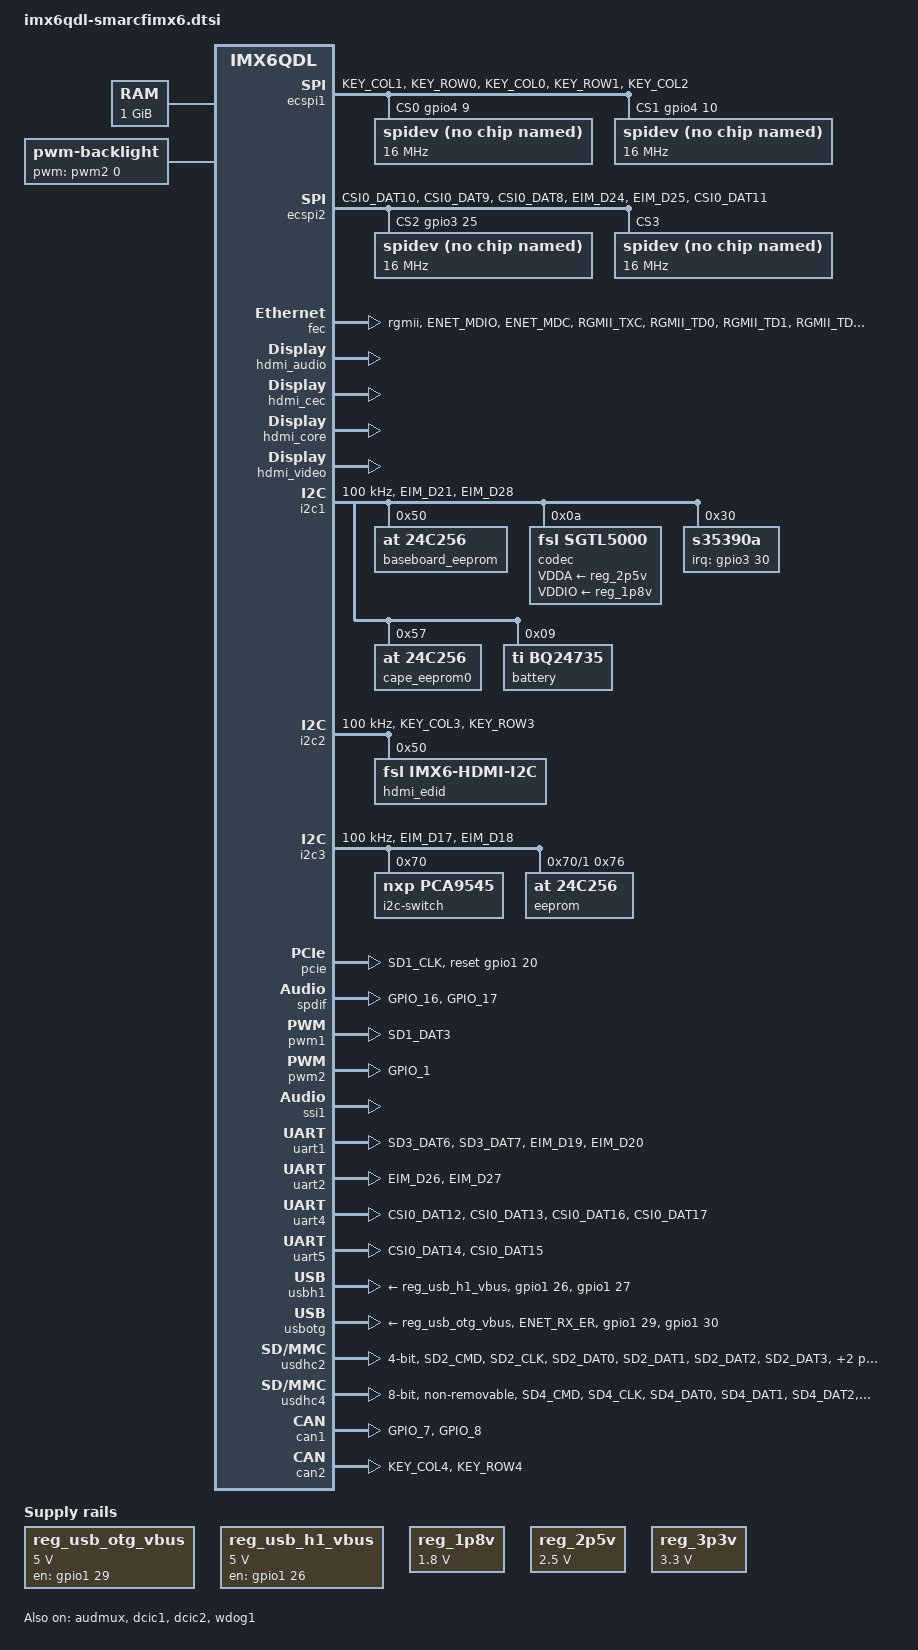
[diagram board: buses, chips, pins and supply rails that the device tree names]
/*
 * Copyright 2012-2016 Freescale Semiconductor, Inc.
 * Copyright 2011 Linaro Ltd.
 *
 * The code contained herein is licensed under the GNU General Public
 * License. You may obtain a copy of the GNU General Public License
 * Version 2 or later at the following locations:
 *
 * http://www.opensource.org/licenses/gpl-license.html
 * http://www.gnu.org/copyleft/gpl.html
 */

#include <dt-bindings/gpio/gpio.h>
#include <dt-bindings/input/input.h>

/ {
	aliases {
		mxcfb0 = &mxcfb1;
		mxcfb1 = &mxcfb2;
		mxcfb2 = &mxcfb3;
		mxcfb3 = &mxcfb4;
	};

	memory: memory {
		reg = <0x10000000 0x40000000>;
	};

	regulators {
		compatible = "simple-bus";
		#address-cells = <1>;
		#size-cells = <0>;

		reg_usb_otg_vbus: regulator@0 {
			compatible = "regulator-fixed";
			reg = <0>;
			regulator-name = "usb_otg_vbus";
			regulator-min-microvolt = <5000000>;
			regulator-max-microvolt = <5000000>;
			gpio = <&gpio1 29 0>;
			enable-active-high;
		};

		reg_usb_h1_vbus: regulator@1 {
			compatible = "regulator-fixed";
			reg = <1>;
			regulator-name = "usb_h1_vbus";
			regulator-min-microvolt = <5000000>;
			regulator-max-microvolt = <5000000>;
			gpio = <&gpio1 26 0>;
			enable-active-high;
		};

                snvs_reg: vsnvs {
                        regulator-min-microvolt = <1000000>;
                        regulator-max-microvolt = <3000000>;
                        regulator-boot-on;
                        regulator-always-on;
                        };

                reg_1p8v: 1p8v {
                        compatible = "regulator-fixed";
                        regulator-name = "1P8V";
                        regulator-min-microvolt = <1800000>;
                        regulator-max-microvolt = <1800000>;
                        regulator-always-on;
                };

                reg_2p5v: 2p5v {
                        compatible = "regulator-fixed";
                        regulator-name = "2P5V";
                        regulator-min-microvolt = <2500000>;
                        regulator-max-microvolt = <2500000>;
                        regulator-always-on;
                };

                reg_3p3v: 3p3v {
                        compatible = "regulator-fixed";
                        regulator-name = "3P3V";
                        regulator-min-microvolt = <3300000>;
                        regulator-max-microvolt = <3300000>;
                        regulator-always-on;
                };
	};

        sound-sgtl5000 {
                compatible = "fsl,imx6q-ventana-sgtl5000",
                             "fsl,imx-audio-sgtl5000";
                model = "sgtl5000-audio";
                ssi-controller = <&ssi1>;
                audio-codec = <&codec>;
                audio-routing =
                        "MIC_IN", "Mic Jack",
                        "Mic Jack", "Mic Bias",
                        "Headphone Jack", "HP_OUT";
                mux-int-port = <1>;
                mux-ext-port = <3>;
        };

        sound-spdif {
                compatible = "fsl,imx-audio-spdif";
                model = "imx-spdif";
                spdif-controller = <&spdif>;
                spdif-in;
                spdif-out;
        };

	sound-hdmi {
		compatible = "fsl,imx6q-audio-hdmi",
			     "fsl,imx-audio-hdmi";
		model = "imx-audio-hdmi";
		hdmi-controller = <&hdmi_audio>;
	};

	mxcfb1: fb@0 {
		compatible = "fsl,mxc_sdc_fb";
		disp_dev = "ldb";
		interface_pix_fmt = "RGB24";
		default_bpp = <24>;
		int_clk = <0>;
		late_init = <0>;
		status = "disabled";
	};

	mxcfb2: fb@1 {
		compatible = "fsl,mxc_sdc_fb";
		disp_dev = "hdmi";
		interface_pix_fmt = "RGB24";
		mode_str ="1920x1080M@60";
		default_bpp = <24>;
		int_clk = <0>;
		late_init = <0>;
		status = "disabled";
	};

	mxcfb3: fb@2 {
		compatible = "fsl,mxc_sdc_fb";
		disp_dev = "lcd";
		interface_pix_fmt = "RGB24";
		mode_str ="CLAA-WVGA";
		default_bpp = <16>;
		int_clk = <0>;
		late_init = <0>;
		status = "disabled";
	};

	mxcfb4: fb@3 {
		compatible = "fsl,mxc_sdc_fb";
		disp_dev = "ldb";
		interface_pix_fmt = "RGB24";
		default_bpp = <24>;
		int_clk = <0>;
		late_init = <0>;
		status = "disabled";
	};

	lcd@0 {
		compatible = "fsl,lcd";
		ipu_id = <0>;
		disp_id = <0>;
		default_ifmt = "RGB24";
		pinctrl-names = "default";
		pinctrl-0 = <&pinctrl_ipu1>;
		status = "okay";
	};

	backlight {
		compatible = "pwm-backlight";
		pwms = <&pwm2 0 50000>;
		brightness-levels = <
			0  /*1  2  3  4  5  6*/  7  8  9
			10 11 12 13 14 15 16 17 18 19
			20 21 22 23 24 25 26 27 28 29
			30 31 32 33 34 35 36 37 38 39
			40 41 42 43 44 45 46 47 48 49
			50 51 52 53 54 55 56 57 58 59
			60 61 62 63 64 65 66 67 68 69
			70 71 72 73 74 75 76 77 78 79
			80 81 82 83 84 85 86 87 88 89
			90 91 92 93 94 95 96 97 98 99
			100
			>;
		default-brightness-level = <94>;
		status = "okay";
	};

	v4l2_cap_0 {
		compatible = "fsl,imx6q-v4l2-capture";
		ipu_id = <0>;
		csi_id = <0>;
		mclk_source = <0>;
		status = "disabled";
	};

	v4l2_cap_1 {
		compatible = "fsl,imx6q-v4l2-capture";
		ipu_id = <0>;
		csi_id = <1>;
		mclk_source = <0>;
		status = "disabled";
	};

	v4l2_out {
		compatible = "fsl,mxc_v4l2_output";
		status = "disabled";
	};
};

&audmux {
	status = "okay";
};

&clks {
        assigned-clocks = <&clks IMX6QDL_CLK_LDB_DI0_SEL>,
                          <&clks IMX6QDL_CLK_LDB_DI1_SEL>;
        assigned-clock-parents = <&clks IMX6QDL_CLK_PLL2_PFD0_352M>,
                                 <&clks IMX6QDL_CLK_PLL2_PFD0_352M>;
        fsl,ldb-di0-parent = <&clks IMX6QDL_CLK_PLL2_PFD0_352M>;
        fsl,ldb-di1-parent = <&clks IMX6QDL_CLK_PLL2_PFD0_352M>;
};

&clks {
};

&ecspi1 {
        fsl,spi-num-chipselects = <2>;
        cs-gpios = <&gpio4 9 GPIO_ACTIVE_HIGH>, <&gpio4 10 GPIO_ACTIVE_HIGH>;
        pinctrl-names = "default";
        pinctrl-0 = <&pinctrl_ecspi1 &pinctrl_ecspi1_cs>;
        status = "okay";

        spidev@0x00 {
                compatible = "spidev";
                spi-max-frequency = <16000000>;
                reg = <0>;
        };
        spidev@0x01 {
                compatible = "spidev";
                spi-max-frequency = <16000000>;
                reg = <1>;
        };
};

&ecspi2 {
        fsl,spi-num-chipselects = <4>;
        cs-gpios = <&gpio5 29 GPIO_ACTIVE_HIGH>,<&gpio3 24 GPIO_ACTIVE_HIGH>,<&gpio3 25 GPIO_ACTIVE_HIGH>,<0>;
        pinctrl-names = "default";
        pinctrl-0 = <&pinctrl_ecspi2 &pinctrl_ecspi2_cs>;
        status = "okay";

        /*SPI NOR Flash is lock up by U-Boot. Turn on GPIO4_20 if user need to access from kernel.*/
        /*flash: mx25u3235f0@0 {
                #address-cells = <1>;
                #size-cells = <1>;
                compatible = "macronix,mx25u3235f";
                spi-max-frequency = <16000000>;
                reg = <0>;
                        partition@0 {
                                label = "U-Boot";
                                reg = <0x0 0x100000>;
                        };

                        partition@100000 {
                                label = "U-Boot Environment";
                                reg = <0x100000 0x080000>;
                        };

                        partition@180000 {
                                label = "Flattened Device Tree";
                                reg = <0x180000 0x200000>;
                        };

        };*/

        spidev@0x02 {
                #address-cells = <1>;
                #size-cells = <0>;
                compatible = "spidev";
                reg = <2>;
                spi-max-frequency = <16000000>;
                };

        spidev@0x03 {
                #address-cells = <1>;
                #size-cells = <0>;
                compatible = "spidev";
                reg = <3>;
                spi-max-frequency = <16000000>;
                };
};

&fec {
	pinctrl-names = "default";
	pinctrl-0 = <&pinctrl_enet>;
	phy-mode = "rgmii";
        interrupts = <&pinctrl_enet_irq>;
	fsl,magic-packet;
	status = "okay";
};

&gpc {
	fsl,ldo-bypass = <0>;
};

&dcic1 {
	dcic_id = <0>;
	dcic_mux = "dcic-hdmi";
	status = "okay";
};

&dcic2 {
	dcic_id = <1>;
	dcic_mux = "dcic-lvds1";
	status = "okay";
};

&hdmi_audio {
	status = "okay";
};

&hdmi_cec {
	pinctrl-names = "default";
	/*pinctrl-0 = <&pinctrl_hdmi_cec>;*/
	status = "okay";
};

&hdmi_core {
	ipu_id = <0>;
	disp_id = <1>;
	status = "okay";
};

&hdmi_video {
	fsl,phy_reg_vlev = <0x0294>;
	fsl,phy_reg_cksymtx = <0x800d>;
	status = "okay";
};

&i2c1 {
        clock-frequency = <100000>;
        pinctrl-names = "default";
        pinctrl-0 = <&pinctrl_i2c1>;
        status = "okay";

        baseboard_eeprom: baseboard_eeprom@50 {
                compatible = "at,24c256";
                reg = <0x50>;
        };

        codec: sgtl5000@0a {
                compatible = "fsl,sgtl5000";
                reg = <0x0a>;
                clocks = <&clks 201>;
                pinctrl-names = "default";
                pinctrl-0 = <&pinctrl_sgtl5000>;
                VDDA-supply = <&reg_2p5v>;
                VDDIO-supply = <&reg_1p8v>;
        };

        s35390a: s35390a@30 {
                compatible = "s35390a";
                reg = <0x30>;
                interrupt-parent = <&gpio3>;
                interrupts = <30 0>, <31 0>;
        };

        cape_eeprom0: cape_eeprom@57 {
                compatible = "at,24c256";
                reg = <0x57>;
        };

        battery: bq24735@09 {
                compatible = "ti,bq24735";
                reg = <0x09>;
                ti,charge-current = <128>;
                ti,input-current = <256>;
                ti,charge-voltage = <5000>;
         };
};

&i2c2 {
        clock-frequency = <100000>;
        pinctrl-names = "default";
        pinctrl-0 = <&pinctrl_i2c2>;
        status = "okay";

        hdmi_edid: edid@50 {
                compatible = "fsl,imx6-hdmi-i2c";
                reg = <0x50>;
        };
};

&i2c3 {
        clock-frequency = <100000>;
        pinctrl-names = "default";
        pinctrl-0 = <&pinctrl_i2c3>;
        status = "okay";

        i2c-switch@70 {
                compatible = "nxp,pca9545";
                #address-cells = <1>;
                #size-cells = <0>;
                reg = <0x70>;

                        i2c@0 {
                                #address-cells = <1>;
                                #size-cells = <0>;
                                compatible = "nxp,pca954x-bus";
                                reg = <0>;

                                /*eeprom@54 {
                                        compatible = "at,24c08";
                                        reg = <0x54>;
                                        };*/
                                };

                        i2c@1 {
                                #address-cells = <1>;
                                #size-cells = <0>;
                                compatible = "nxp,pca954x-bus";
                                reg = <1>;

                                /* Example to add new i2c device */
                                        /*rtc@51 {
                                        compatible = "nxp,pcf8563";
                                        reg = <0x51>;
                                        };*/
                                eeprom@76 {
                                        compatible = "at,24c256";
                                        reg = <0x76>;
                                        };
                                };

                        i2c@2 {
                                #address-cells = <1>;
                                #size-cells = <0>;
                                compatible = "nxp,pca954x-bus";
                                reg = <2>;
                                };
                        i2c@3 {
                                #address-cells = <1>;
                                #size-cells = <0>;
                                compatible = "nxp,pca954x-bus";
                                reg = <3>;
                                };
                };
};

&iomuxc {
	pinctrl-names = "default";
	pinctrl-0 = <&pinctrl_hog>;

	imx6qdl-sabresd {
		pinctrl_hog: hoggrp {
			fsl,pins = <
                                MX6QDL_PAD_GPIO_4__GPIO1_IO04   0x80000000
                                MX6QDL_PAD_GPIO_5__GPIO1_IO05   0x80000000
                                MX6QDL_PAD_GPIO_6__GPIO1_IO06   0x80000000
                                MX6QDL_PAD_NANDF_D0__GPIO2_IO00 0x80000000
                                MX6QDL_PAD_NANDF_D2__GPIO2_IO02 0x80000000
                                MX6QDL_PAD_NANDF_D3__GPIO2_IO03 0x80000000
                                MX6QDL_PAD_NANDF_D4__GPIO2_IO04 0x80000000
                                MX6QDL_PAD_NANDF_D5__GPIO2_IO05 0x80000000
                                MX6QDL_PAD_NANDF_D6__GPIO2_IO06 0x80000000
                                MX6QDL_PAD_NANDF_D7__GPIO2_IO07 0x80000000
                                MX6QDL_PAD_NANDF_ALE__GPIO6_IO08 0x80000000
                                MX6QDL_PAD_NANDF_CLE__GPIO6_IO07 0x80000000
                                MX6QDL_PAD_GPIO_0__GPIO1_IO00   0x80000000
                                MX6QDL_PAD_NANDF_CS2__CCM_CLKO2 0x130b0
                                MX6QDL_PAD_NANDF_CS3__GPIO6_IO16 0x80000000
                                MX6QDL_PAD_EIM_CS0__GPIO2_IO23  0x80000000
                                MX6QDL_PAD_EIM_CS1__GPIO2_IO24  0x80000000
                                MX6QDL_PAD_EIM_EB3__GPIO2_IO31  0x80000000
                                MX6QDL_PAD_EIM_D16__GPIO3_IO16  0x80000000
                                MX6QDL_PAD_EIM_DA9__GPIO3_IO09  0x80000000
                                MX6QDL_PAD_EIM_D29__GPIO3_IO29  0x80000000
                                MX6QDL_PAD_GPIO_2__GPIO1_IO02   0x80000000
                                MX6QDL_PAD_SD1_CMD__GPIO1_IO18  0x80000000
                                /*MX6QDL_PAD_EIM_D30__GPIO3_IO30          0x410
                                MX6QDL_PAD_EIM_D31__GPIO3_IO31          0x410*/
                                MX6QDL_PAD_DI0_PIN4__GPIO4_IO20 0x80000000
                                MX6QDL_PAD_CSI0_MCLK__CCM_CLKO1 0x130b0
			>;
		};

		/*pinctrl_audmux: audmuxgrp {
			fsl,pins = <
				MX6QDL_PAD_CSI0_DAT7__AUD3_RXD		0x130b0
				MX6QDL_PAD_CSI0_DAT4__AUD3_TXC		0x130b0
				MX6QDL_PAD_CSI0_DAT5__AUD3_TXD		0x110b0
				MX6QDL_PAD_CSI0_DAT6__AUD3_TXFS		0x130b0
			>;
		};*/

                pinctrl_ecspi1: ecspi1grp {
                        fsl,pins = <
                                MX6QDL_PAD_KEY_COL1__ECSPI1_MISO        0x100b1
                                MX6QDL_PAD_KEY_ROW0__ECSPI1_MOSI        0x100b1
                                MX6QDL_PAD_KEY_COL0__ECSPI1_SCLK        0x100b1
                        >;
                };

                pinctrl_ecspi1_cs: ecspi1cs {
                        fsl,pins = <
                                MX6QDL_PAD_KEY_ROW1__GPIO4_IO09        	0x1b0b0
                                MX6QDL_PAD_KEY_COL2__GPIO4_IO10        	0x1b0b0
                        >;
                };

                pinctrl_ecspi2: ecspi2grp {
                        fsl,pins = <
                                MX6QDL_PAD_CSI0_DAT10__ECSPI2_MISO      0x100b1
                                MX6QDL_PAD_CSI0_DAT9__ECSPI2_MOSI       0x100b1
                                MX6QDL_PAD_CSI0_DAT8__ECSPI2_SCLK       0x100b1
                        >;
                };

                pinctrl_ecspi2_cs: ecspi2cs {
                        fsl,pins = <
                                MX6QDL_PAD_EIM_D24__GPIO3_IO24         	0x1b0b0
                                MX6QDL_PAD_EIM_D25__GPIO3_IO25         	0x1b0b0
                                MX6QDL_PAD_CSI0_DAT11__GPIO5_IO29       0x1b0b0
                        >;
                };

                pinctrl_enet: enetgrp {
                        fsl,pins = <
                                MX6QDL_PAD_ENET_MDIO__ENET_MDIO         0x1b0b0
                                MX6QDL_PAD_ENET_MDC__ENET_MDC           0x1b0b0
                                MX6QDL_PAD_RGMII_TXC__RGMII_TXC         0x1b0b0
                                MX6QDL_PAD_RGMII_TD0__RGMII_TD0         0x1b0b0
                                MX6QDL_PAD_RGMII_TD1__RGMII_TD1         0x1b0b0
                                MX6QDL_PAD_RGMII_TD2__RGMII_TD2         0x1b0b0
                                MX6QDL_PAD_RGMII_TD3__RGMII_TD3         0x1b0b0
                                MX6QDL_PAD_RGMII_TX_CTL__RGMII_TX_CTL   0x1b0b0
                                MX6QDL_PAD_ENET_REF_CLK__ENET_TX_CLK    0x1b0b0
                                MX6QDL_PAD_RGMII_RXC__RGMII_RXC         0x1b0b0
                                MX6QDL_PAD_RGMII_RD0__RGMII_RD0         0x1b0b0
                                MX6QDL_PAD_RGMII_RD1__RGMII_RD1         0x1b0b0
                                MX6QDL_PAD_RGMII_RD2__RGMII_RD2         0x1b0b0
                                MX6QDL_PAD_RGMII_RD3__RGMII_RD3         0x1b0b0
                                MX6QDL_PAD_RGMII_RX_CTL__RGMII_RX_CTL   0x1b0b0
                        >;
                };

                pinctrl_enet_irq: enetirqgrp {
                        fsl,pins = <
                                MX6QDL_PAD_KEY_ROW2__GPIO4_IO11         0x80000000
                        >;
                };

                pinctrl_flexcan1: flexcan1grp {
                        fsl,pins = <
                                MX6QDL_PAD_GPIO_7__FLEXCAN1_TX          0x80000000
                                MX6QDL_PAD_GPIO_8__FLEXCAN1_RX          0x80000000
                        >;
                };

                pinctrl_flexcan2: flexcan2grp {
                        fsl,pins = <
                                MX6QDL_PAD_KEY_COL4__FLEXCAN2_TX        0x80000000
                                MX6QDL_PAD_KEY_ROW4__FLEXCAN2_RX        0x80000000
                        >;
                };

                pinctrl_hdmi_cec: hdmicecgrp {
                        fsl,pins = <
                                MX6QDL_PAD_KEY_ROW2__HDMI_TX_CEC_LINE   0x1f8b0
                        >;
                };

                pinctrl_hdmi_hdcp: hdmihdcpgrp {
                        fsl,pins = <
                                MX6QDL_PAD_KEY_COL3__HDMI_TX_DDC_SCL    0x4001b8b1
                                MX6QDL_PAD_KEY_ROW3__HDMI_TX_DDC_SDA    0x4001b8b1
                        >;
                };

                pinctrl_i2c1: i2c1grp {
                        fsl,pins = <
                                MX6QDL_PAD_EIM_D21__I2C1_SCL            0x4001b8b1
                                MX6QDL_PAD_EIM_D28__I2C1_SDA            0x4001b8b1
                        >;
                };

                pinctrl_i2c2: i2c2grp {
                        fsl,pins = <
                                MX6QDL_PAD_KEY_COL3__I2C2_SCL           0x4001b8b1
                                MX6QDL_PAD_KEY_ROW3__I2C2_SDA           0x4001b8b1
                        >;
                };

                pinctrl_i2c3: i2c3grp {
                        fsl,pins = <
                                MX6QDL_PAD_EIM_D17__I2C3_SCL            0x4001b8b1
                                MX6QDL_PAD_EIM_D18__I2C3_SDA            0x4001b8b1
                        >;
                };

                pinctrl_ipu1: ipu1grp {
                        fsl,pins = <
                                MX6QDL_PAD_DI0_DISP_CLK__IPU1_DI0_DISP_CLK 0xe1
                                MX6QDL_PAD_DI0_PIN15__IPU1_DI0_PIN15       0xe1
                                MX6QDL_PAD_DI0_PIN2__IPU1_DI0_PIN02        0xe1
                                MX6QDL_PAD_DI0_PIN3__IPU1_DI0_PIN03        0xe1
                                MX6QDL_PAD_DISP0_DAT0__IPU1_DISP0_DATA00   0xe1
                                MX6QDL_PAD_DISP0_DAT1__IPU1_DISP0_DATA01   0xe1
                                MX6QDL_PAD_DISP0_DAT2__IPU1_DISP0_DATA02   0xe1
                                MX6QDL_PAD_DISP0_DAT3__IPU1_DISP0_DATA03   0xe1
                                MX6QDL_PAD_DISP0_DAT4__IPU1_DISP0_DATA04   0xe1
                                MX6QDL_PAD_DISP0_DAT5__IPU1_DISP0_DATA05   0xe1
                                MX6QDL_PAD_DISP0_DAT6__IPU1_DISP0_DATA06   0xe1
                                MX6QDL_PAD_DISP0_DAT7__IPU1_DISP0_DATA07   0xe1
                                MX6QDL_PAD_DISP0_DAT8__IPU1_DISP0_DATA08   0xe1
                                MX6QDL_PAD_DISP0_DAT9__IPU1_DISP0_DATA09   0xe1
                                MX6QDL_PAD_DISP0_DAT10__IPU1_DISP0_DATA10  0xe1
                                MX6QDL_PAD_DISP0_DAT11__IPU1_DISP0_DATA11  0xe1
                                MX6QDL_PAD_DISP0_DAT12__IPU1_DISP0_DATA12  0xe1
                                MX6QDL_PAD_DISP0_DAT13__IPU1_DISP0_DATA13  0xe1
                                MX6QDL_PAD_DISP0_DAT14__IPU1_DISP0_DATA14  0xe1
                                MX6QDL_PAD_DISP0_DAT15__IPU1_DISP0_DATA15  0xe1
                                MX6QDL_PAD_DISP0_DAT16__IPU1_DISP0_DATA16  0xe1
                                MX6QDL_PAD_DISP0_DAT17__IPU1_DISP0_DATA17  0xe1
                                MX6QDL_PAD_DISP0_DAT18__IPU1_DISP0_DATA18  0xe1
                                MX6QDL_PAD_DISP0_DAT19__IPU1_DISP0_DATA19  0xe1
                                MX6QDL_PAD_DISP0_DAT20__IPU1_DISP0_DATA20  0xe1
                                MX6QDL_PAD_DISP0_DAT21__IPU1_DISP0_DATA21  0xe1
                                MX6QDL_PAD_DISP0_DAT22__IPU1_DISP0_DATA22  0xe1
                                MX6QDL_PAD_DISP0_DAT23__IPU1_DISP0_DATA23  0xe1
                        >;
                };

                pinctrl_ipu1_2: ipu1grp-2 { /* parallel camera */
                        fsl,pins = <
                                MX6QDL_PAD_CSI0_DAT12__IPU1_CSI0_DATA12	0x80000000
                                MX6QDL_PAD_CSI0_DAT13__IPU1_CSI0_DATA13	0x80000000
                                MX6QDL_PAD_CSI0_DAT14__IPU1_CSI0_DATA14	0x80000000
                                MX6QDL_PAD_CSI0_DAT15__IPU1_CSI0_DATA15	0x80000000
                                MX6QDL_PAD_CSI0_DAT16__IPU1_CSI0_DATA16	0x80000000
                                MX6QDL_PAD_CSI0_DAT17__IPU1_CSI0_DATA17	0x80000000
                                MX6QDL_PAD_CSI0_DAT18__IPU1_CSI0_DATA18	0x80000000
                                MX6QDL_PAD_CSI0_DAT19__IPU1_CSI0_DATA19	0x80000000
                                MX6QDL_PAD_CSI0_DATA_EN__IPU1_CSI0_DATA_EN 0x80000000
                                MX6QDL_PAD_CSI0_PIXCLK__IPU1_CSI0_PIXCLK 0x80000000
                                MX6QDL_PAD_CSI0_MCLK__IPU1_CSI0_HSYNC  	0x80000000
                                MX6QDL_PAD_CSI0_VSYNC__IPU1_CSI0_VSYNC 	0x80000000
                        >;
                };

                pinctrl_pcie: pciegrp {
                        fsl,pins = <
                                MX6QDL_PAD_SD1_CLK__GPIO1_IO20          0x1b0b0
                        >;
                };

                pinctrl_pcie_reg: pciereggrp {
                        fsl,pins = <
                                MX6QDL_PAD_EIM_D19__GPIO3_IO19          0x1b0b0
                        >;
                };

                pinctrl_sgtl5000: sgtl5000grp {
                        fsl,pins = <
                                MX6QDL_PAD_CSI0_DAT7__AUD3_RXD        0x130b0
                                MX6QDL_PAD_CSI0_DAT4__AUD3_TXC        0x130b0
                                MX6QDL_PAD_CSI0_DAT5__AUD3_TXD        0x110b0
                                MX6QDL_PAD_CSI0_DAT6__AUD3_TXFS       0x130b0
                        >;
                };

                pinctrl_pwm1: pwm1grp {
                        fsl,pins = <
                                MX6QDL_PAD_SD1_DAT3__PWM1_OUT           0x1b0b1
                        >;
                };

                pinctrl_pwm2: pwm2grp {
                        fsl,pins = <
                                MX6QDL_PAD_GPIO_1__PWM2_OUT             0x1b0b1
                        >;
                };

                pinctrl_spdif: spdifgrp {
                        fsl,pins = <
                                MX6QDL_PAD_GPIO_16__SPDIF_IN            0x1b0b0
                                MX6QDL_PAD_GPIO_17__SPDIF_OUT           0x1b0b0
                        >;
                };

                pinctrl_uart1: uart1grp {
                        fsl,pins = <
                                MX6QDL_PAD_SD3_DAT6__UART1_RX_DATA      0x1b0b1
                                MX6QDL_PAD_SD3_DAT7__UART1_TX_DATA      0x1b0b1
                                MX6QDL_PAD_EIM_D19__UART1_CTS_B         0x1b0b1
                                MX6QDL_PAD_EIM_D20__UART1_RTS_B         0x1b0b1
                        >;
                };

                pinctrl_uart2: uart2grp {
                        fsl,pins = <
                                MX6QDL_PAD_EIM_D26__UART2_TX_DATA       0x1b0b1
                                MX6QDL_PAD_EIM_D27__UART2_RX_DATA       0x1b0b1
                        >;
                };

                pinctrl_uart4: uart4grp {
                        fsl,pins = <
                                MX6QDL_PAD_CSI0_DAT12__UART4_TX_DATA    0x1b0b1
                                MX6QDL_PAD_CSI0_DAT13__UART4_RX_DATA    0x1b0b1
                                MX6QDL_PAD_CSI0_DAT16__UART4_RTS_B      0x1b0b1
                                MX6QDL_PAD_CSI0_DAT17__UART4_CTS_B      0x1b0b1
                        >;
                };

                pinctrl_uart5_1: uart5grp-1 {
                        fsl,pins = <
                                MX6QDL_PAD_KEY_COL1__UART5_TX_DATA      0x1b0b1
                                MX6QDL_PAD_KEY_ROW1__UART5_RX_DATA      0x1b0b1
                                MX6QDL_PAD_KEY_COL4__UART5_RTS_B        0x1b0b1
                                MX6QDL_PAD_KEY_ROW4__UART5_CTS_B        0x1b0b1
                        >;
                };

                pinctrl_uart5dte_1: uart5dtegrp-1 {
                        fsl,pins = <
                                MX6QDL_PAD_KEY_ROW1__UART5_TX_DATA      0x1b0b1
                                MX6QDL_PAD_KEY_COL1__UART5_RX_DATA      0x1b0b1
                                MX6QDL_PAD_KEY_ROW4__UART5_RTS_B        0x1b0b1
                                MX6QDL_PAD_KEY_COL4__UART5_CTS_B        0x1b0b1
                        >;
                };

                pinctrl_uart5_2: uart5grp-2 {
                        fsl,pins = <
                                MX6QDL_PAD_CSI0_DAT14__UART5_TX_DATA    0x1b0b1
                                MX6QDL_PAD_CSI0_DAT15__UART5_RX_DATA    0x1b0b1
                        >;
                };

                pinctrl_usbotg: usbotggrp {
                        fsl,pins = <
                                MX6QDL_PAD_ENET_RX_ER__USB_OTG_ID       0x17059
                        >;
                };

                pinctrl_usdhc2: usdhc2grp {
                        fsl,pins = <
                                MX6QDL_PAD_SD2_CMD__SD2_CMD             0x17059
                                MX6QDL_PAD_SD2_CLK__SD2_CLK             0x10059
                                MX6QDL_PAD_SD2_DAT0__SD2_DATA0          0x17059
                                MX6QDL_PAD_SD2_DAT1__SD2_DATA1          0x17059
                                MX6QDL_PAD_SD2_DAT2__SD2_DATA2          0x17059
                                MX6QDL_PAD_SD2_DAT3__SD2_DATA3          0x17059
                        >;
                };

                pinctrl_usdhc3: usdhc3grp {
                        fsl,pins = <
                                MX6QDL_PAD_SD3_CMD__SD3_CMD             0x17059
                                MX6QDL_PAD_SD3_CLK__SD3_CLK             0x10059
                                MX6QDL_PAD_SD3_DAT0__SD3_DATA0          0x17059
                                MX6QDL_PAD_SD3_DAT1__SD3_DATA1          0x17059
                                MX6QDL_PAD_SD3_DAT2__SD3_DATA2          0x17059
                                MX6QDL_PAD_SD3_DAT3__SD3_DATA3          0x17059
                                MX6QDL_PAD_SD3_RST__SD3_RESET           0x17059
                        >;
                };

                pinctrl_usdhc4: usdhc4grp {
                        fsl,pins = <
                                MX6QDL_PAD_SD4_CMD__SD4_CMD             0x17059
                                MX6QDL_PAD_SD4_CLK__SD4_CLK             0x10059
                                MX6QDL_PAD_SD4_DAT0__SD4_DATA0          0x17059
                                MX6QDL_PAD_SD4_DAT1__SD4_DATA1          0x17059
                                MX6QDL_PAD_SD4_DAT2__SD4_DATA2          0x17059
                                MX6QDL_PAD_SD4_DAT3__SD4_DATA3          0x17059
                                MX6QDL_PAD_SD4_DAT4__SD4_DATA4          0x17059
                                MX6QDL_PAD_SD4_DAT5__SD4_DATA5          0x17059
                                MX6QDL_PAD_SD4_DAT6__SD4_DATA6          0x17059
                                MX6QDL_PAD_SD4_DAT7__SD4_DATA7          0x17059
                        >;
                };

                pinctrl_wdog: wdoggrp {
                        fsl,pins = <
                                MX6QDL_PAD_GPIO_9__WDOG1_B              0x80000000
                        >;
                };
        };

	gpio_leds {
		pinctrl_gpio_leds: gpioledsgrp {
			fsl,pins = <
				MX6QDL_PAD_GPIO_2__GPIO1_IO02 0x1b0b0
			>;
		};
	};
};

&mipi_csi {
        status = "disabled";
        ipu_id = <0>;
        csi_id = <1>;
        v_channel = <0>;
        lanes = <4>;
};

&pcie {
        pinctrl-names = "default";
        pinctrl-0 = <&pinctrl_pcie>;
        reset-gpio = <&gpio1 20 0>;
        status = "okay";
};

&spdif {
        pinctrl-names = "default";
        pinctrl-0 = <&pinctrl_spdif>;
        status = "okay";
};

&pwm1 {
        pinctrl-names = "default";
        pinctrl-0 = <&pinctrl_pwm1>;
        status = "okay";
};

&pwm2 {
        pinctrl-names = "default";
        pinctrl-0 = <&pinctrl_pwm2>;
        status = "okay";
};

&snvs_poweroff {
	status = "okay";
};

&ssi1 {
        fsl,mode = "i2s-slave";
        status = "okay";
};

&uart1 {
        pinctrl-names = "default";
        pinctrl-0 = <&pinctrl_uart1>;
        status = "okay";
};

&uart2 {
        pinctrl-names = "default";
        pinctrl-0 = <&pinctrl_uart2>;
        status = "okay";
};

&uart4 {
        pinctrl-names = "default";
        pinctrl-0 = <&pinctrl_uart4>;
        status = "okay";
};

&uart5 {
        pinctrl-names = "default";
        pinctrl-0 = <&pinctrl_uart5_2>;
        status = "okay";
};

&usbh1 {
        vbus-supply = <&reg_usb_h1_vbus>;
        gpios = <&gpio1 26 1>, <&gpio1 27 2>;
        status = "okay";
};

&usbotg {
        vbus-supply = <&reg_usb_otg_vbus>;
        pinctrl-names = "default";
        pinctrl-0 = <&pinctrl_usbotg>;
        gpios = <&gpio1 29 1>, <&gpio1 30 2>;
        disable-over-current;
        srp-disable;
        hnp-disable;
        adp-disable;
        status = "okay";
};

&usbphy1 {
	tx-d-cal = <0x5>;
};

&usbphy2 {
	tx-d-cal = <0x5>;
};

&usdhc2 {
        pinctrl-names = "default";
        pinctrl-0 = <&pinctrl_usdhc2>;
        bus-width = <4>;
        cd-gpios = <&gpio1 28 GPIO_ACTIVE_LOW>;
        wp-gpios = <&gpio1 25 GPIO_ACTIVE_HIGH>;
        no-1-8-v;
        keep-power-in-suspend;
        enable-sdio-wakeup;
        status = "okay";
};

&usdhc3 {
        pinctrl-names = "default";
        pinctrl-0 = <&pinctrl_usdhc3>;
        bus-width = <4>;
        /*cd-gpios = <&gpio2 0 0>;
        wp-gpios = <&gpio2 1 0>;
        enable-sdio-wakeup;*/
        no-1-8-v;
        keep-power-in-suspend;
        status = "disabled";
};

&usdhc4 {
        pinctrl-names = "default";
        pinctrl-0 = <&pinctrl_usdhc4>;
        bus-width = <8>;
        non-removable;
        no-1-8-v;
        keep-power-in-suspend;
        status = "okay";
};

&can1 {
        pinctrl-names = "default";
        pinctrl-0 = <&pinctrl_flexcan1>;
        status = "okay";
};

&can2 {
        pinctrl-names = "default";
        pinctrl-0 = <&pinctrl_flexcan2>;
        status = "okay";
};

&wdog1 {
        pinctrl-names = "default";
        pinctrl-0 = <&pinctrl_wdog>;
        fsl,wdog_b;
        status = "okay";
};

&wdog2 {
        pinctrl-names = "default";
        pinctrl-0 = <&pinctrl_wdog>;
        fsl,wdog_b;
        status = "disabled";
};
